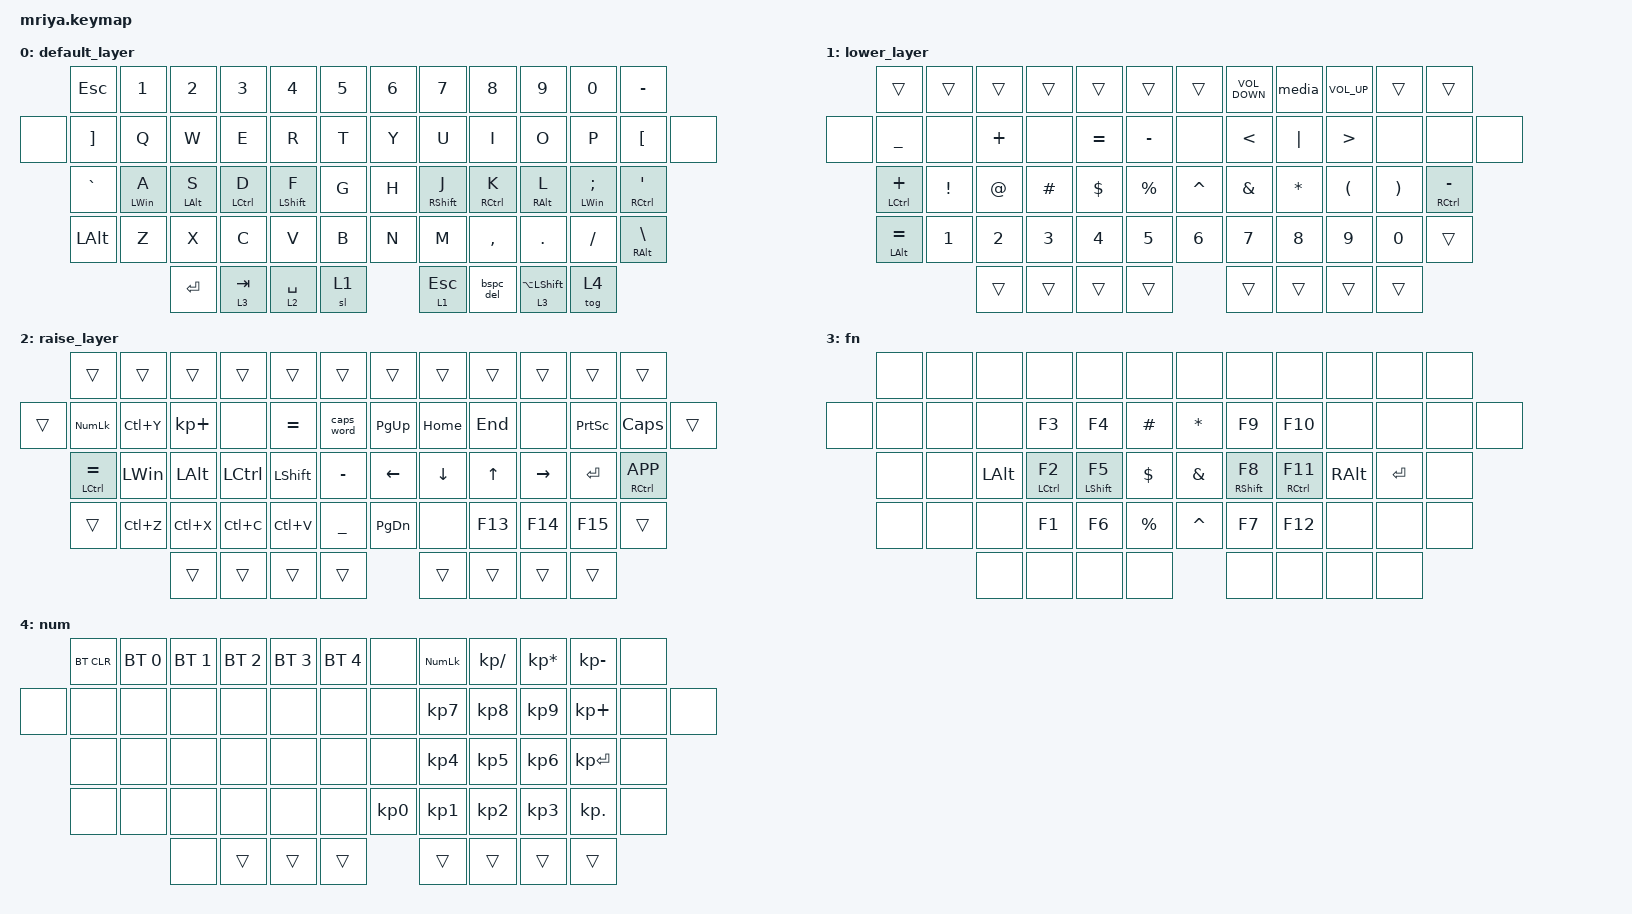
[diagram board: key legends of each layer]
/*
 * Copyright (c) 2023 Andrei Gaevskii
 *
 * SPDX-License-Identifier: MIT
 */

#include <behaviors.dtsi>
#include <dt-bindings/zmk/bt.h>
#include <dt-bindings/zmk/keys.h>
#include <dt-bindings/zmk/modifiers.h>

#define DEF 0
#define LWR 1
#define RSE 2
#define ADJ 3

&lt {
    flavor = "hold-preferred";
    quick_tap_ms = <200>;
};

&mt { quick_tap_ms = <200>; };

/ {
    macros {
        equalWithSpace: equalWithSpace {
            compatible = "zmk,behavior-macro";
            #binding-cells = <0>;
            bindings = <&none &kp SPACE &kp EQUAL &kp SPACE>;
            label = "EQUALWITHSPACE";
        };
    };

    behaviors {
        hrmt: hrmt {
            compatible = "zmk,behavior-hold-tap";
            label = "Home row Mod-Tap";
            bindings = <&kp>, <&kp>;

            #binding-cells = <2>;
            flavor = "tap-preferred";
            tapping-term-ms = <200>;
        };

        hml: hml {
            compatible = "zmk,behavior-hold-tap";
            label = "HML";
            bindings = <&kp>, <&kp>;

            #binding-cells = <2>;
            flavor = "balanced";
            tapping-term-ms = <200>;
            quick-tap-ms = <200>;
            hold-trigger-key-positions = <54 55 56 57 50 51 52 53 19 20 21 22 23 32 33 34 35 36 44 45 46 47 48 6 7 8 9 10 21 11 25 37 49 24>;
            require-prior-idle-ms = <125>;
            hold-trigger-on-release;
        };

        hmr: hmr {
            compatible = "zmk,behavior-hold-tap";
            label = "HMR";
            bindings = <&kp>, <&kp>;

            #binding-cells = <2>;
            flavor = "balanced";
            tapping-term-ms = <200>;
            quick-tap-ms = <200>;
            hold-trigger-key-positions = <54 55 56 57 50 51 52 53 0 1 2 3 4 5 12 13 14 15 16 17 18 26 27 28 29 30 31 38 39 40 41 42 43>;
            require-prior-idle-ms = <125>;
            hold-trigger-on-release;
        };

        bspc_del: backspace_delete {
            compatible = "zmk,behavior-mod-morph";
            #binding-cells = <0>;
            bindings = <&kp BSPC>, <&kp DEL>;
            mods = <(MOD_LSFT | MOD_RSFT)>;
            keep-mods = <(MOD_RSFT)>;
        };

        media: media {
            compatible = "zmk,behavior-tap-dance";
            label = "MEDIA";
            #binding-cells = <0>;
            bindings = <&kp C_PLAY_PAUSE>, <&kp C_NEXT>, <&kp C_PREVIOUS>;
        };
    };

    combos {
        compatible = "zmk,combos";

        leftBracket {
            bindings = <&kp LEFT_PARENTHESIS>;
            key-positions = <30 20>;
            layers = <2>;
        };

        rightBracket {
            bindings = <&kp RIGHT_PARENTHESIS>;
            key-positions = <30 22>;
            layers = <2>;
        };
    };

    keymap {
        compatible = "zmk,keymap";

        default_layer {
            bindings = <
       &kp ESC            &kp N1           &kp N2           &kp N3        &kp N4             &kp N5    &kp N6     &kp N7              &kp N8        &kp N9            &kp N0              &kp MINUS
&none  &kp RIGHT_BRACKET  &kp Q            &kp W            &kp E         &kp R              &kp T     &kp Y      &kp U               &kp I         &kp O             &kp P               &kp LEFT_BRACKET  &none
       &kp GRAVE          &hml LEFT_WIN A  &hml LEFT_ALT S  &hml LCTRL D  &hml LEFT_SHIFT F  &kp G     &kp H      &hmr RIGHT_SHIFT J  &hmr RCTRL K  &hmr RIGHT_ALT L  &hmr LEFT_WIN SEMI  &mt RCTRL SQT
       &kp LALT           &kp Z            &kp X            &kp C         &kp V              &kp B     &kp N      &kp M               &kp COMMA     &kp DOT           &kp FSLH            &mt RALT BSLH
                                           &kp ENTER        &lt 3 TAB     &lt 2 SPACE        &sl 1     &lt 1 ESC  &bspc_del            &lt 3 LA(LEFT_SHIFT)     &tog 4
            >;
        };

        lower_layer {
            bindings = <
       &trans          &trans    &trans    &trans    &trans     &trans       &trans     &kp C_VOLUME_DOWN  &media    &kp C_VOLUME_UP   &trans    &trans
&none  &kp UNDER       &none     &kp PLUS  &none     &kp EQUAL  &kp MINUS    &none      &kp LESS_THAN      &kp PIPE  &kp GREATER_THAN  &none     &none            &none
       &mt LCTRL PLUS  &kp EXCL  &kp AT    &kp HASH  &kp DLLR   &kp PRCNT    &kp CARET  &kp AMPS           &kp STAR  &kp LPAR          &kp RPAR  &mt RCTRL MINUS
       &mt LALT EQUAL  &kp N1    &kp N2    &kp N3    &kp N4     &kp N5       &kp N6     &kp N7             &kp N8    &kp N9            &kp N0    &trans
                                 &trans    &trans    &trans     &trans       &trans     &trans             &trans    &trans
            >;
        };

        raise_layer {
            bindings = <
        &trans           &trans        &trans        &trans              &trans      &trans            &trans         &trans          &trans        &trans           &trans           &trans
&trans  &kp KP_NUM       &kp LC(Y)     &kp KP_PLUS   &none              &kp EQUAL   &caps_word        &kp PAGE_UP    &kp HOME       &kp END       &none            &kp PRINTSCREEN  &kp CAPS         &trans
        &mt LCTRL EQUAL  &kp LEFT_WIN  &kp LEFT_ALT  &kp LCTRL           &kp LSHIFT  &kp MINUS         &kp LEFT       &kp DOWN_ARROW  &kp UP_ARROW  &kp RIGHT_ARROW  &kp ENTER        &mt RCTRL K_APP
        &trans           &kp LC(Z)     &kp LC(X)     &kp LC(C)           &kp LC(V)   &kp UNDERSCORE    &kp PAGE_DOWN  &none           &kp F13        &kp F14         &kp F15          &trans
                                       &trans        &trans              &trans      &trans            &trans         &trans          &trans        &trans
            >;
        };

        fn {
            bindings = <
       &none  &none  &none     &none          &none          &none          &none          &none           &none           &none          &none      &none
&none  &none  &none  &none     &kp F3         &kp F4         &kp HASH       &kp ASTERISK   &kp F9          &kp F10         &none          &none      &none  &none
       &none  &none  &kp LALT  &hml LCTRL F2  &hml LSHFT F5  &kp DOLLAR     &kp AMPERSAND  &hmr RSHIFT F8  &hmr RCTRL F11  &kp RIGHT_ALT  &kp ENTER  &none
       &none  &none  &none     &kp F1         &kp F6         &kp PERCENT    &kp CARET      &kp F7          &kp F12         &none          &none      &none
                     &none     &none          &none          &none          &none          &none           &none           &none
            >;
        };

        num {
            bindings = <
       &bt BT_CLR  &bt BT_SEL 0  &bt BT_SEL 1  &bt BT_SEL 2  &bt BT_SEL 3  &bt BT_SEL 4    &none            &kp KP_NUM       &kp KP_DIVIDE    &kp KP_MULTIPLY  &kp KP_MINUS  &none
&none  &none       &none         &none         &none         &none         &none           &none            &kp KP_NUMBER_7  &kp KP_NUMBER_8  &kp KP_NUMBER_9  &kp KP_PLUS   &none  &none
       &none       &none         &none         &none         &none         &none           &none            &kp KP_NUMBER_4  &kp KP_NUMBER_5  &kp KP_NUMBER_6  &kp KP_ENTER  &none
       &none       &none         &none         &none         &none         &none           &kp KP_NUMBER_0  &kp KP_NUMBER_1  &kp KP_NUMBER_2  &kp KP_NUMBER_3  &kp KP_DOT    &none
                                 &none         &trans        &trans        &trans          &trans           &trans           &trans           &trans
            >;
        };
    };
};
